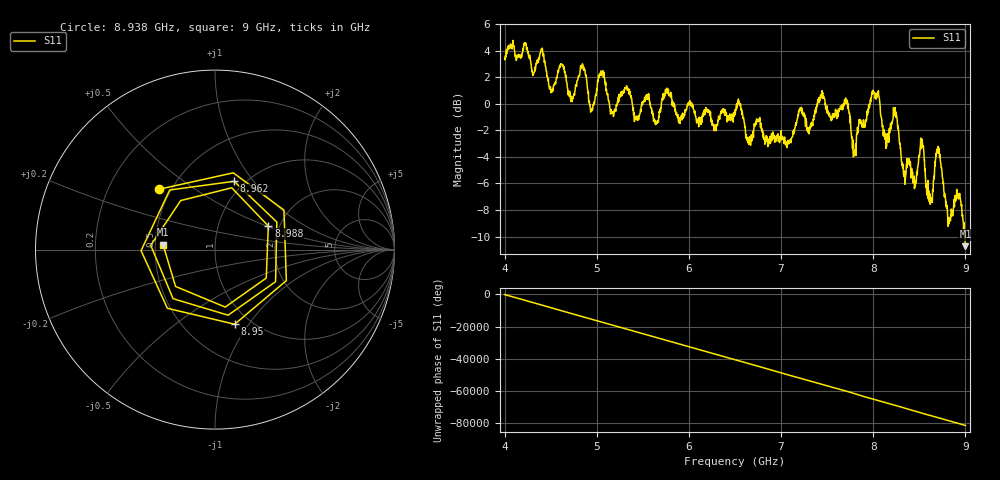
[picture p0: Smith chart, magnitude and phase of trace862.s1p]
! Created with skrf 1.8.0 (http://scikit-rf.org).
# Hz S RI R 50.0
!freq ReS11 ImS11
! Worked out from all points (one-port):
!   1601 points, 4 GHz to 9 GHz, reference 50 ohm
!   lowest |S11| = -10.7 dB at 9 GHz (marker M1), VSWR 1.82, Z = 27.5 + j1.69 ohm
!   |S11| at or under -10 dB: 8.995076 GHz to end of sweep
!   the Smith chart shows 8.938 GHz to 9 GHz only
!   S11 on the Smith chart (normalised r, x): 8.938 GHz: 0.43, +0.36; 8.95 GHz: 0.84, -0.86; 8.962 GHz: 0.90, +0.81; 8.988 GHz: 1.75, +0.51; 9 GHz: 0.55, +0.03
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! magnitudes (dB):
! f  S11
! 4 GHz  3.4
! 4.403 GHz  4.1
! 4.503 GHz  0.8
! 4.625 GHz  2.9
! 4.725 GHz  0.6
! 4.847 GHz  3.0
! 4.941 GHz  -0.3
! 5.053 GHz  2.2
! 5.162 GHz  -0.7
! 5.25 GHz  0.5
! 5.875 GHz  -1.0
! 6.5 GHz  -0.7
! 7.125 GHz  -2.5
! 7.441 GHz  0.8
! 7.75 GHz  -0.9
! 7.797 GHz  -3.6
! 8.038 GHz  0.5
! 8.375 GHz  -4.5
! 8.456 GHz  -6.2
! 8.531 GHz  -2.7
! 8.622 GHz  -7.0
! 8.703 GHz  -3.2
! 8.812 GHz  -9.2
! 8.938 GHz  -6.8
! 8.95 GHz  -7.3
! 8.962 GHz  -8.1
! 8.988 GHz  -9.8
! 9 GHz  -10.7
